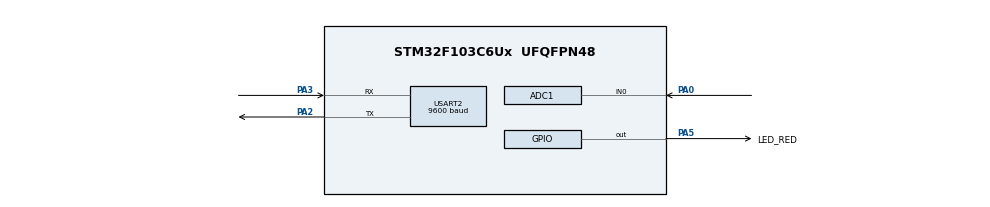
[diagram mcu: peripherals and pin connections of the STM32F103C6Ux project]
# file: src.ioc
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ADC1.Channel-0\#ChannelRegularConversion=ADC_CHANNEL_0
ADC1.ContinuousConvMode=ENABLE
ADC1.NbrOfConversionFlag=1
ADC1.Rank-0\#ChannelRegularConversion=1
ADC1.SamplingTime-0\#ChannelRegularConversion=ADC_SAMPLETIME_1CYCLE_5
ADC1.master=1
Mcu.Family=STM32F1
Mcu.Name=STM32F103C6Ux
Mcu.Package=UFQFPN48
NVIC.PriorityGroup=NVIC_PRIORITYGROUP_4
NVIC.TIM2_IRQn=true\:0\:0\:false\:false\:true\:true\:true
NVIC.USART2_IRQn=true\:0\:0\:false\:false\:true\:true\:true
PA0-WKUP.Signal=ADCx_IN0
PA2.Mode=Asynchronous
PA2.Signal=USART2_TX
PA3.Mode=Asynchronous
PA3.Signal=USART2_RX
PA5.GPIO_Label=LED_RED
PA5.Signal=GPIO_Output
ProjectManager.HeapSize=0x200
ProjectManager.StackSize=0x400
ProjectManager.TargetToolchain=STM32CubeIDE
RCC.APB1Freq_Value=8000000
RCC.APB2Freq_Value=8000000
SH.ADCx_IN0.0=ADC1_IN0,IN0
TIM2.Period=9
TIM2.Prescaler=7999
USART2.BaudRate=9600
USART2.VirtualMode=VM_ASYNC
VP_SYS_VS_ND.Mode=No_Debug
VP_TIM2_VS_ClockSourceINT.Mode=Internal
board=custom

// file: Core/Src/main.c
/* USER CODE BEGIN Header */
/**
  ******************************************************************************
  * @file           : main.c
  * @brief          : Main program body
  ******************************************************************************
  * @attention
  *
  * <h2><center>&copy; Copyright (c) 2023 STMicroelectronics.
  * All rights reserved.</center></h2>
  *
  * This software component is licensed by ST under BSD 3-Clause license,
  * the "License"; You may not use this file except in compliance with the
  * License. You may obtain a copy of the License at:
  *                        opensource.org/licenses/BSD-3-Clause
  *
  ******************************************************************************
  */
/* USER CODE END Header */
#include "main.h"

/* USER CODE BEGIN Includes */
#include "uart_processing.h"
#include "software_timer.h"
#include "scheduler.h"
/* USER CODE END Includes */

ADC_HandleTypeDef hadc1;

TIM_HandleTypeDef htim2;

UART_HandleTypeDef huart2;

void SystemClock_Config(void);
static void MX_GPIO_Init(void);
static void MX_ADC1_Init(void);
static void MX_USART2_UART_Init(void);
static void MX_TIM2_Init(void);
/* USER CODE BEGIN PFP */
void command_parser_fsm_run(){
	  if (buffer_flag == 1) {
		  command_parser_fsm();
		  buffer_flag = 0;
	  }
}
/* USER CODE END PFP */

int main(void)
{

  /* MCU Configuration--------------------------------------------------------*/

  /* Reset of all peripherals, Initializes the Flash interface and the Systick. */
  HAL_Init();

  /* Configure the system clock */
  SystemClock_Config();

  /* Initialize all configured peripherals */
  MX_GPIO_Init();
  MX_ADC1_Init();
  MX_USART2_UART_Init();
  MX_TIM2_Init();
  /* USER CODE BEGIN 2 */
  HAL_TIM_Base_Start_IT(&htim2);
  /* USER CODE END 2 */

  /* Infinite loop */
  /* USER CODE BEGIN WHILE */
  uint8_t pData[] = "My protocol is getting started...\r\n";
  HAL_Delay(1000);
  HAL_UART_Transmit(&huart2, pData, sizeof(pData), 100);
  HAL_UART_Receive_IT(&huart2, &temp, 1);

  SCH_Add_Task(timer_run, 10, 10);
  SCH_Add_Task(command_parser_fsm_run, 30, 10);
  SCH_Add_Task(uart_communiation_fsm, 20, 10);
  while (1)
  {
    /* USER CODE END WHILE */

    /* USER CODE BEGIN 3 */
	  SCH_Dispatch_Tasks();
  }
  /* USER CODE END 3 */
}

void SystemClock_Config(void)
{
  RCC_OscInitTypeDef RCC_OscInitStruct = {0};
  RCC_ClkInitTypeDef RCC_ClkInitStruct = {0};
  RCC_PeriphCLKInitTypeDef PeriphClkInit = {0};

  /** Initializes the RCC Oscillators according to the specified parameters
  * in the RCC_OscInitTypeDef structure.
  */
  RCC_OscInitStruct.OscillatorType = RCC_OSCILLATORTYPE_HSI;
  RCC_OscInitStruct.HSIState = RCC_HSI_ON;
  RCC_OscInitStruct.HSICalibrationValue = RCC_HSICALIBRATION_DEFAULT;
  RCC_OscInitStruct.PLL.PLLState = RCC_PLL_NONE;
  if (HAL_RCC_OscConfig(&RCC_OscInitStruct) != HAL_OK)
  {
    Error_Handler();
  }
  /** Initializes the CPU, AHB and APB buses clocks
  */
  RCC_ClkInitStruct.ClockType = RCC_CLOCKTYPE_HCLK|RCC_CLOCKTYPE_SYSCLK
                              |RCC_CLOCKTYPE_PCLK1|RCC_CLOCKTYPE_PCLK2;
  RCC_ClkInitStruct.SYSCLKSource = RCC_SYSCLKSOURCE_HSI;
  RCC_ClkInitStruct.AHBCLKDivider = RCC_SYSCLK_DIV1;
  RCC_ClkInitStruct.APB1CLKDivider = RCC_HCLK_DIV1;
  RCC_ClkInitStruct.APB2CLKDivider = RCC_HCLK_DIV1;

  if (HAL_RCC_ClockConfig(&RCC_ClkInitStruct, FLASH_LATENCY_0) != HAL_OK)
  {
    Error_Handler();
  }
  PeriphClkInit.PeriphClockSelection = RCC_PERIPHCLK_ADC;
  PeriphClkInit.AdcClockSelection = RCC_ADCPCLK2_DIV2;
  if (HAL_RCCEx_PeriphCLKConfig(&PeriphClkInit) != HAL_OK)
  {
    Error_Handler();
  }
}

static void MX_ADC1_Init(void)
{

  ADC_ChannelConfTypeDef sConfig = {0};

  /** Common config
  */
  hadc1.Instance = ADC1;
  hadc1.Init.ScanConvMode = ADC_SCAN_DISABLE;
  hadc1.Init.ContinuousConvMode = ENABLE;
  hadc1.Init.DiscontinuousConvMode = DISABLE;
  hadc1.Init.ExternalTrigConv = ADC_SOFTWARE_START;
  hadc1.Init.DataAlign = ADC_DATAALIGN_RIGHT;
  hadc1.Init.NbrOfConversion = 1;
  if (HAL_ADC_Init(&hadc1) != HAL_OK)
  {
    Error_Handler();
  }
  /** Configure Regular Channel
  */
  sConfig.Channel = ADC_CHANNEL_0;
  sConfig.Rank = ADC_REGULAR_RANK_1;
  sConfig.SamplingTime = ADC_SAMPLETIME_1CYCLE_5;
  if (HAL_ADC_ConfigChannel(&hadc1, &sConfig) != HAL_OK)
  {
    Error_Handler();
  }

}

static void MX_TIM2_Init(void)
{

  TIM_ClockConfigTypeDef sClockSourceConfig = {0};
  TIM_MasterConfigTypeDef sMasterConfig = {0};

  htim2.Instance = TIM2;
  htim2.Init.Prescaler = 7999;
  htim2.Init.CounterMode = TIM_COUNTERMODE_UP;
  htim2.Init.Period = 9;
  htim2.Init.ClockDivision = TIM_CLOCKDIVISION_DIV1;
  htim2.Init.AutoReloadPreload = TIM_AUTORELOAD_PRELOAD_DISABLE;
  if (HAL_TIM_Base_Init(&htim2) != HAL_OK)
  {
    Error_Handler();
  }
  sClockSourceConfig.ClockSource = TIM_CLOCKSOURCE_INTERNAL;
  if (HAL_TIM_ConfigClockSource(&htim2, &sClockSourceConfig) != HAL_OK)
  {
    Error_Handler();
  }
  sMasterConfig.MasterOutputTrigger = TIM_TRGO_RESET;
  sMasterConfig.MasterSlaveMode = TIM_MASTERSLAVEMODE_DISABLE;
  if (HAL_TIMEx_MasterConfigSynchronization(&htim2, &sMasterConfig) != HAL_OK)
  {
    Error_Handler();
  }

}

static void MX_USART2_UART_Init(void)
{

  huart2.Instance = USART2;
  huart2.Init.BaudRate = 9600;
  huart2.Init.WordLength = UART_WORDLENGTH_8B;
  huart2.Init.StopBits = UART_STOPBITS_1;
  huart2.Init.Parity = UART_PARITY_NONE;
  huart2.Init.Mode = UART_MODE_TX_RX;
  huart2.Init.HwFlowCtl = UART_HWCONTROL_NONE;
  huart2.Init.OverSampling = UART_OVERSAMPLING_16;
  if (HAL_UART_Init(&huart2) != HAL_OK)
  {
    Error_Handler();
  }

}

static void MX_GPIO_Init(void)
{
  GPIO_InitTypeDef GPIO_InitStruct = {0};

  /* GPIO Ports Clock Enable */
  __HAL_RCC_GPIOA_CLK_ENABLE();

  /*Configure GPIO pin Output Level */
  HAL_GPIO_WritePin(LED_RED_GPIO_Port, LED_RED_Pin, GPIO_PIN_RESET);

  /*Configure GPIO pin : LED_RED_Pin */
  GPIO_InitStruct.Pin = LED_RED_Pin;
  GPIO_InitStruct.Mode = GPIO_MODE_OUTPUT_PP;
  GPIO_InitStruct.Pull = GPIO_NOPULL;
  GPIO_InitStruct.Speed = GPIO_SPEED_FREQ_LOW;
  HAL_GPIO_Init(LED_RED_GPIO_Port, &GPIO_InitStruct);

}

/* USER CODE BEGIN 4 */
void HAL_UART_RxCpltCallback(UART_HandleTypeDef *huart) {
	if (huart->Instance == USART2) {
		buffer[index_buffer] = temp;
		index_buffer = (index_buffer + 1) % MAX_BUFFER_SIZE;
		buffer_flag = 1;
		HAL_UART_Transmit(&huart2, &temp, 1, 50);
		HAL_UART_Receive_IT(&huart2, &temp, 1);
	}
}

void HAL_TIM_PeriodElapsedCallback(TIM_HandleTypeDef *htim) {
	SCH_Update();
}

/* USER CODE END 4 */

void Error_Handler(void)
{
  __disable_irq();
  while (1)
  {
  }
}

/************************ (C) COPYRIGHT STMicroelectronics *****END OF FILE****/
